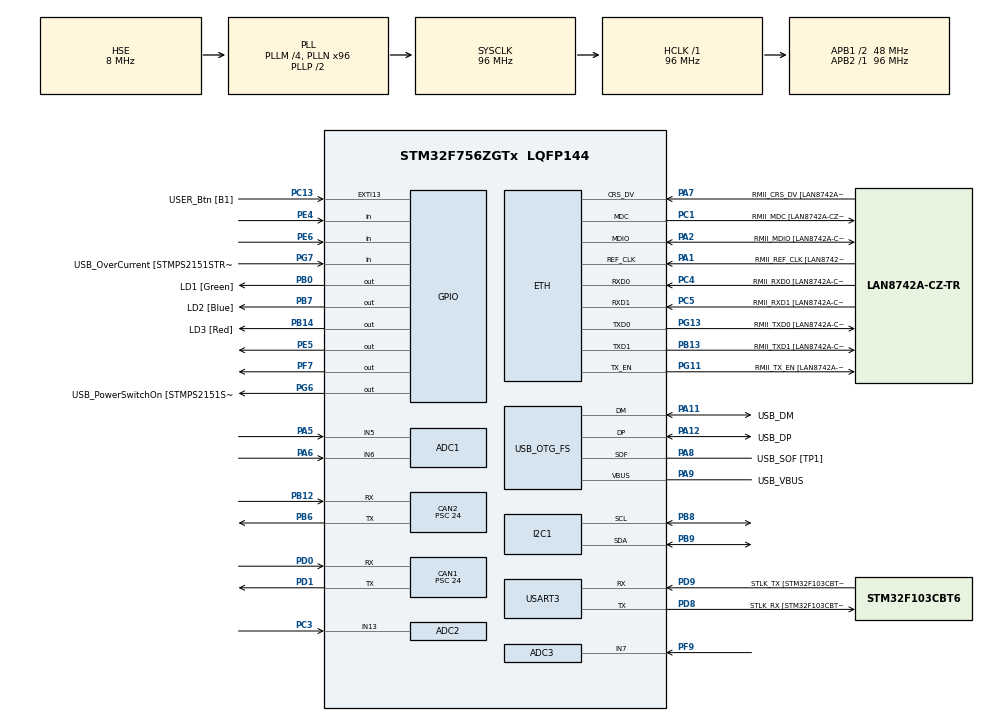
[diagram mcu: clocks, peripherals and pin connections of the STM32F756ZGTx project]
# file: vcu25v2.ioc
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ADC1.Channel-0\#ChannelRegularConversion=ADC_CHANNEL_5
ADC1.Channel-1\#ChannelRegularConversion=ADC_CHANNEL_6
ADC1.ContinuousConvMode=ENABLE
ADC1.DMAContinuousRequests=ENABLE
ADC1.EOCSelection=ADC_EOC_SEQ_CONV
ADC1.NbrOfConversion=2
ADC1.NbrOfConversionFlag=1
ADC1.Rank-0\#ChannelRegularConversion=1
ADC1.Rank-1\#ChannelRegularConversion=2
ADC1.SamplingTime-0\#ChannelRegularConversion=ADC_SAMPLETIME_480CYCLES
ADC1.SamplingTime-1\#ChannelRegularConversion=ADC_SAMPLETIME_480CYCLES
ADC1.ScanConvMode=ADC_SCAN_ENABLE
ADC1.master=1
ADC2.Channel-6\#ChannelRegularConversion=ADC_CHANNEL_13
ADC2.NbrOfConversionFlag=1
ADC2.Rank-6\#ChannelRegularConversion=1
ADC2.SamplingTime-6\#ChannelRegularConversion=ADC_SAMPLETIME_3CYCLES
ADC3.Channel-8\#ChannelRegularConversion=ADC_CHANNEL_7
ADC3.NbrOfConversionFlag=1
ADC3.Rank-8\#ChannelRegularConversion=1
ADC3.SamplingTime-8\#ChannelRegularConversion=ADC_SAMPLETIME_15CYCLES
CAN1.BS1=CAN_BS1_2TQ
CAN1.CalculateBaudRate=500000
CAN1.CalculateTimeBit=2000
CAN1.CalculateTimeQuantum=500.0
CAN1.Prescaler=24
CAN2.BS1=CAN_BS1_2TQ
CAN2.CalculateBaudRate=500000
CAN2.CalculateTimeBit=2000
CAN2.CalculateTimeQuantum=500.0
CAN2.Prescaler=24
Dma.ADC1.0.Direction=DMA_PERIPH_TO_MEMORY
Dma.ADC1.0.FIFOMode=DMA_FIFOMODE_DISABLE
Dma.ADC1.0.Instance=DMA2_Stream0
Dma.ADC1.0.MemDataAlignment=DMA_MDATAALIGN_HALFWORD
Dma.ADC1.0.MemInc=DMA_MINC_ENABLE
Dma.ADC1.0.Mode=DMA_CIRCULAR
Dma.ADC1.0.PeriphDataAlignment=DMA_PDATAALIGN_HALFWORD
Dma.ADC1.0.PeriphInc=DMA_PINC_DISABLE
Dma.ADC1.0.Priority=DMA_PRIORITY_LOW
Dma.Request0=ADC1
ETH.MediaInterface=HAL_ETH_RMII_MODE
ETH.PHY_Name=LAN8742A_PHY_ADDRESS
ETH.PHY_Value=0
ETH.PhyAddress=0
I2C1.Timing=0x20303E5D
Mcu.Family=STM32F7
Mcu.Name=STM32F756ZGTx
Mcu.Package=LQFP144
NVIC.DMA2_Stream0_IRQn=true\:0\:0\:false\:false\:true\:false\:true\:true
NVIC.PriorityGroup=NVIC_PRIORITYGROUP_4
NVIC.TIM6_DAC_IRQn=true\:15\:0\:false\:false\:true\:false\:true\:true
NVIC.TimeBase=TIM6_DAC_IRQn
NVIC.TimeBaseIP=TIM6
PA1.GPIO_Label=RMII_REF_CLK [LAN8742A-CZ-TR_REFCLK0]
PA1.Mode=RMII
PA1.Signal=ETH_REF_CLK
PA10.GPIO_Label=USB_ID
PA10.Signal=USB_OTG_FS_ID
PA11.GPIO_Label=USB_DM
PA11.Mode=Device_Only
PA11.Signal=USB_OTG_FS_DM
PA12.GPIO_Label=USB_DP
PA12.Mode=Device_Only
PA12.Signal=USB_OTG_FS_DP
PA13.GPIO_Label=TMS
PA13.Mode=Serial_Wire
PA13.Signal=SYS_JTMS-SWDIO
PA14.GPIO_Label=TCK
PA14.Mode=Serial_Wire
PA14.Signal=SYS_JTCK-SWCLK
PA2.GPIO_Label=RMII_MDIO [LAN8742A-CZ-TR_MDIO]
PA2.Mode=RMII
PA2.Signal=ETH_MDIO
PA5.Signal=ADCx_IN5
PA6.Signal=ADCx_IN6
PA7.GPIO_Label=RMII_CRS_DV [LAN8742A-CZ-TR_CRS_DV]
PA7.Mode=RMII
PA7.Signal=ETH_CRS_DV
PA8.GPIO_Label=USB_SOF [TP1]
PA8.Mode=Activate_SOF_FS
PA8.Signal=USB_OTG_FS_SOF
PA9.GPIO_Label=USB_VBUS
PA9.Mode=Activate_VBUS
PA9.Signal=USB_OTG_FS_VBUS
PB0.GPIO_Label=LD1 [Green]
PB0.Signal=GPIO_Output
PB12.Mode=CAN_Activate
PB12.Signal=CAN2_RX
PB13.GPIO_Label=RMII_TXD1 [LAN8742A-CZ-TR_TXD1]
PB13.Mode=RMII
PB13.Signal=ETH_TXD1
PB14.GPIO_Label=LD3 [Red]
PB14.Signal=GPIO_Output
PB3.GPIO_Label=SW0
PB3.Signal=SYS_JTDO-SWO
PB6.Mode=CAN_Activate
PB6.Signal=CAN2_TX
PB7.GPIO_Label=LD2 [Blue]
PB7.Signal=GPIO_Output
PB8.Mode=I2C
PB8.Signal=I2C1_SCL
PB9.Mode=I2C
PB9.Signal=I2C1_SDA
PC1.GPIO_Label=RMII_MDC [LAN8742A-CZ-TR_MDC]
PC1.Mode=RMII
PC1.Signal=ETH_MDC
PC13.GPIO_Label=USER_Btn [B1]
PC13.Signal=GPXTI13
PC14/OSC32_IN.Mode=LSE-External-Oscillator
PC14/OSC32_IN.Signal=RCC_OSC32_IN
PC15/OSC32_OUT.Mode=LSE-External-Oscillator
PC15/OSC32_OUT.Signal=RCC_OSC32_OUT
PC3.Signal=ADCx_IN13
PC4.GPIO_Label=RMII_RXD0 [LAN8742A-CZ-TR_RXD0]
PC4.Mode=RMII
PC4.Signal=ETH_RXD0
PC5.GPIO_Label=RMII_RXD1 [LAN8742A-CZ-TR_RXD1]
PC5.Mode=RMII
PC5.Signal=ETH_RXD1
PD0.Mode=CAN_Activate
PD0.Signal=CAN1_RX
PD1.Mode=CAN_Activate
PD1.Signal=CAN1_TX
PD8.GPIO_Label=STLK_RX [STM32F103CBT6_PA3]
PD8.Mode=Asynchronous
PD8.Signal=USART3_TX
PD9.GPIO_Label=STLK_TX [STM32F103CBT6_PA2]
PD9.Mode=Asynchronous
PD9.Signal=USART3_RX
PE4.Signal=GPIO_Input
PE5.Signal=GPIO_Output
PE6.Signal=GPIO_Input
PF7.Signal=GPIO_Output
PF9.Mode=IN7
PF9.Signal=ADC3_IN7
PG11.GPIO_Label=RMII_TX_EN [LAN8742A-CZ-TR_TXEN]
PG11.Mode=RMII
PG11.Signal=ETH_TX_EN
PG13.GPIO_Label=RMII_TXD0 [LAN8742A-CZ-TR_TXD0]
PG13.Mode=RMII
PG13.Signal=ETH_TXD0
PG6.GPIO_Label=USB_PowerSwitchOn [STMPS2151STR_EN]
PG6.Signal=GPIO_Output
PG7.GPIO_Label=USB_OverCurrent [STMPS2151STR_FAULT]
PG7.Signal=GPIO_Input
PH0/OSC_IN.GPIO_Label=MCO [STM32F103CBT6_PA8]
PH0/OSC_IN.Mode=HSE-External-Clock-Source
PH0/OSC_IN.Signal=RCC_OSC_IN
PH1/OSC_OUT.Mode=HSE-External-Clock-Source
PH1/OSC_OUT.Signal=RCC_OSC_OUT
ProjectManager.HeapSize=0x200
ProjectManager.StackSize=0x400
ProjectManager.TargetToolchain=STM32CubeIDE
RCC.48MHZClocksFreq_Value=24000000
RCC.AHBFreq_Value=96000000
RCC.APB1CLKDivider=RCC_HCLK_DIV2
RCC.APB1Freq_Value=48000000
RCC.APB1TimFreq_Value=96000000
RCC.APB2Freq_Value=96000000
RCC.APB2TimFreq_Value=96000000
RCC.CortexFreq_Value=96000000
RCC.HCLKFreq_Value=96000000
RCC.HSE_VALUE=8000000
RCC.HSI_VALUE=16000000
RCC.PLLM=4
RCC.PLLMUL=RCC_PLL_MUL9
RCC.PLLN=96
RCC.PLLQ=4
RCC.PRESCALERUSB=RCC_USBCLKSOURCE_PLL_DIV1_5
RCC.SYSCLKFreq_VALUE=96000000
RCC.SYSCLKSource=RCC_SYSCLKSOURCE_PLLCLK
RCC.SYSCLKSourceVirtual=RCC_SYSCLKSOURCE_PLLCLK
RCC.USBFreq_Value=48000000
RCC.VCOOutputFreq_Value=192000000
SH.ADCx_IN13.0=ADC2_IN13,IN13
SH.ADCx_IN5.0=ADC1_IN5,IN5
SH.ADCx_IN6.0=ADC1_IN6,IN6
USART3.VirtualMode-Asynchronous=VM_ASYNC
USB_OTG_FS.VirtualMode=Device_Only
VP_SYS_VS_tim6.Mode=TIM6
board=NUCLEO-F756ZG

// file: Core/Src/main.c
/* USER CODE BEGIN Header */
/**
  ******************************************************************************
  * @file           : main.c
  * @brief          : Main program body
  ******************************************************************************
  * @attention
  *
  * Copyright (c) 2025 STMicroelectronics.
  * All rights reserved.
  *
  * This software is licensed under terms that can be found in the LICENSE file
  * in the root directory of this software component.
  * If no LICENSE file comes with this software, it is provided AS-IS.
  *
  ******************************************************************************
  */
/* USER CODE END Header */
#include "main.h"
#include "string.h"

/* USER CODE BEGIN Includes */
#include "inverter.h"
#include "pedals.h"
/* USER CODE END Includes */

#if defined ( __ICCARM__ ) /*!< IAR Compiler */
#pragma location=0x2004c000
ETH_DMADescTypeDef  DMARxDscrTab[ETH_RX_DESC_CNT]; /* Ethernet Rx DMA Descriptors */
#pragma location=0x2004c0a0
ETH_DMADescTypeDef  DMATxDscrTab[ETH_TX_DESC_CNT]; /* Ethernet Tx DMA Descriptors */

#elif defined ( __CC_ARM )  /* MDK ARM Compiler */

__attribute__((at(0x2004c000))) ETH_DMADescTypeDef  DMARxDscrTab[ETH_RX_DESC_CNT]; /* Ethernet Rx DMA Descriptors */
__attribute__((at(0x2004c0a0))) ETH_DMADescTypeDef  DMATxDscrTab[ETH_TX_DESC_CNT]; /* Ethernet Tx DMA Descriptors */

#elif defined ( __GNUC__ ) /* GNU Compiler */

ETH_DMADescTypeDef DMARxDscrTab[ETH_RX_DESC_CNT] __attribute__((section(".RxDecripSection"))); /* Ethernet Rx DMA Descriptors */
ETH_DMADescTypeDef DMATxDscrTab[ETH_TX_DESC_CNT] __attribute__((section(".TxDecripSection")));   /* Ethernet Tx DMA Descriptors */
#endif

ETH_TxPacketConfig TxConfig;

ADC_HandleTypeDef hadc1;
ADC_HandleTypeDef hadc2;
ADC_HandleTypeDef hadc3;
DMA_HandleTypeDef hdma_adc1;

CAN_HandleTypeDef hcan1;
CAN_HandleTypeDef hcan2;

ETH_HandleTypeDef heth;

I2C_HandleTypeDef hi2c1;

UART_HandleTypeDef huart3;

PCD_HandleTypeDef hpcd_USB_OTG_FS;

/* USER CODE BEGIN PV */
// includes variables used for raw adc collection as well as variables for capturing calibration adc values

volatile float global_accel_position = 0.0f;
uint32_t lastExecutionTime = 0;

uint32_t appsRaw1 = 0;
uint32_t appsRaw1Max = 0;
uint32_t appsRaw1Min = 4096;

uint32_t appsRaw2 = 0;
uint32_t appsRaw2Max = 0;
uint32_t appsRaw2Min = 4096;

// temporary values for testing
uint16_t rawValues[2];
char ready;

static float appsPercentage1 = 0.0f;
static float appsPercentage2 = 0.0f;
static float appsValue = 0.0f;

/* USER CODE END PV */

void SystemClock_Config(void);
static void MX_GPIO_Init(void);
static void MX_DMA_Init(void);
static void MX_ETH_Init(void);
static void MX_I2C1_Init(void);
static void MX_USART3_UART_Init(void);
static void MX_USB_OTG_FS_PCD_Init(void);
static void MX_CAN1_Init(void);
static void MX_ADC1_Init(void);
static void MX_CAN2_Init(void);
static void MX_ADC2_Init(void);
static void MX_ADC3_Init(void);

/* USER CODE BEGIN 0 */

void HAL_ADC_ConvCpltCallback(ADC_HandleTypeDef* hadc) {
//	appsRaw1 = rawValues[0];
//	appsRaw2 = rawValues[1];
//
//	appsPercentage1 = (float) (appsRaw1) / (float) (4095);
//	appsPercentage2 = (float) (appsRaw2) / (float) (4095);
//
//	appsValue = (appsPercentage1 + appsPercentage2) / 2;
//	global_accel_position = appsValue;
//	ready = 1;

//		HAL_GPIO_WritePin(GPIOB, LD1_Pin, SET);
	Inverter_Process();
}

/* USER CODE END 0 */

int main(void)
{

  /* MCU Configuration--------------------------------------------------------*/

  /* Reset of all peripherals, Initializes the Flash interface and the Systick. */
  HAL_Init();

  /* Configure the system clock */
  SystemClock_Config();

  /* Initialize all configured peripherals */
  MX_GPIO_Init();
  MX_DMA_Init();
  MX_ETH_Init();
  MX_I2C1_Init();
  MX_USART3_UART_Init();
  MX_USB_OTG_FS_PCD_Init();
  MX_CAN1_Init();
  MX_ADC1_Init();
  MX_CAN2_Init();
  MX_ADC2_Init();
  MX_ADC3_Init();
  /* USER CODE BEGIN 2 */
  HAL_CAN_Start(&hcan1);
  Inverter_Init();
  HAL_Delay(1000);
  HAL_ADC_Start_DMA(&hadc1, (uint32_t *) rawValues, 2);
  /* USER CODE END 2 */

  /* Infinite loop */
	while (1) {

	}
}

void SystemClock_Config(void)
{
  RCC_OscInitTypeDef RCC_OscInitStruct = {0};
  RCC_ClkInitTypeDef RCC_ClkInitStruct = {0};

  /** Configure LSE Drive Capability
  */
  HAL_PWR_EnableBkUpAccess();

  /** Configure the main internal regulator output voltage
  */
  __HAL_RCC_PWR_CLK_ENABLE();
  __HAL_PWR_VOLTAGESCALING_CONFIG(PWR_REGULATOR_VOLTAGE_SCALE3);

  /** Initializes the RCC Oscillators according to the specified parameters
  * in the RCC_OscInitTypeDef structure.
  */
  RCC_OscInitStruct.OscillatorType = RCC_OSCILLATORTYPE_HSE;
  RCC_OscInitStruct.HSEState = RCC_HSE_BYPASS;
  RCC_OscInitStruct.PLL.PLLState = RCC_PLL_ON;
  RCC_OscInitStruct.PLL.PLLSource = RCC_PLLSOURCE_HSE;
  RCC_OscInitStruct.PLL.PLLM = 4;
  RCC_OscInitStruct.PLL.PLLN = 96;
  RCC_OscInitStruct.PLL.PLLP = RCC_PLLP_DIV2;
  RCC_OscInitStruct.PLL.PLLQ = 4;
  if (HAL_RCC_OscConfig(&RCC_OscInitStruct) != HAL_OK)
  {
    Error_Handler();
  }

  /** Activate the Over-Drive mode
  */
  if (HAL_PWREx_EnableOverDrive() != HAL_OK)
  {
    Error_Handler();
  }

  /** Initializes the CPU, AHB and APB buses clocks
  */
  RCC_ClkInitStruct.ClockType = RCC_CLOCKTYPE_HCLK|RCC_CLOCKTYPE_SYSCLK
                              |RCC_CLOCKTYPE_PCLK1|RCC_CLOCKTYPE_PCLK2;
  RCC_ClkInitStruct.SYSCLKSource = RCC_SYSCLKSOURCE_PLLCLK;
  RCC_ClkInitStruct.AHBCLKDivider = RCC_SYSCLK_DIV1;
  RCC_ClkInitStruct.APB1CLKDivider = RCC_HCLK_DIV2;
  RCC_ClkInitStruct.APB2CLKDivider = RCC_HCLK_DIV1;

  if (HAL_RCC_ClockConfig(&RCC_ClkInitStruct, FLASH_LATENCY_3) != HAL_OK)
  {
    Error_Handler();
  }
}

static void MX_ADC1_Init(void)
{

  ADC_ChannelConfTypeDef sConfig = {0};

  /** Configure the global features of the ADC (Clock, Resolution, Data Alignment and number of conversion)
  */
  hadc1.Instance = ADC1;
  hadc1.Init.ClockPrescaler = ADC_CLOCK_SYNC_PCLK_DIV4;
  hadc1.Init.Resolution = ADC_RESOLUTION_12B;
  hadc1.Init.ScanConvMode = ADC_SCAN_ENABLE;
  hadc1.Init.ContinuousConvMode = ENABLE;
  hadc1.Init.DiscontinuousConvMode = DISABLE;
  hadc1.Init.ExternalTrigConvEdge = ADC_EXTERNALTRIGCONVEDGE_NONE;
  hadc1.Init.ExternalTrigConv = ADC_SOFTWARE_START;
  hadc1.Init.DataAlign = ADC_DATAALIGN_RIGHT;
  hadc1.Init.NbrOfConversion = 2;
  hadc1.Init.DMAContinuousRequests = ENABLE;
  hadc1.Init.EOCSelection = ADC_EOC_SEQ_CONV;
  if (HAL_ADC_Init(&hadc1) != HAL_OK)
  {
    Error_Handler();
  }

  /** Configure for the selected ADC regular channel its corresponding rank in the sequencer and its sample time.
  */
  sConfig.Channel = ADC_CHANNEL_5;
  sConfig.Rank = ADC_REGULAR_RANK_1;
  sConfig.SamplingTime = ADC_SAMPLETIME_480CYCLES;
  if (HAL_ADC_ConfigChannel(&hadc1, &sConfig) != HAL_OK)
  {
    Error_Handler();
  }

  /** Configure for the selected ADC regular channel its corresponding rank in the sequencer and its sample time.
  */
  sConfig.Channel = ADC_CHANNEL_6;
  sConfig.Rank = ADC_REGULAR_RANK_2;
  if (HAL_ADC_ConfigChannel(&hadc1, &sConfig) != HAL_OK)
  {
    Error_Handler();
  }

}

static void MX_ADC2_Init(void)
{

  ADC_ChannelConfTypeDef sConfig = {0};

  /** Configure the global features of the ADC (Clock, Resolution, Data Alignment and number of conversion)
  */
  hadc2.Instance = ADC2;
  hadc2.Init.ClockPrescaler = ADC_CLOCK_SYNC_PCLK_DIV4;
  hadc2.Init.Resolution = ADC_RESOLUTION_12B;
  hadc2.Init.ScanConvMode = ADC_SCAN_DISABLE;
  hadc2.Init.ContinuousConvMode = DISABLE;
  hadc2.Init.DiscontinuousConvMode = DISABLE;
  hadc2.Init.ExternalTrigConvEdge = ADC_EXTERNALTRIGCONVEDGE_NONE;
  hadc2.Init.ExternalTrigConv = ADC_SOFTWARE_START;
  hadc2.Init.DataAlign = ADC_DATAALIGN_RIGHT;
  hadc2.Init.NbrOfConversion = 1;
  hadc2.Init.DMAContinuousRequests = DISABLE;
  hadc2.Init.EOCSelection = ADC_EOC_SINGLE_CONV;
  if (HAL_ADC_Init(&hadc2) != HAL_OK)
  {
    Error_Handler();
  }

  /** Configure for the selected ADC regular channel its corresponding rank in the sequencer and its sample time.
  */
  sConfig.Channel = ADC_CHANNEL_13;
  sConfig.Rank = ADC_REGULAR_RANK_1;
  sConfig.SamplingTime = ADC_SAMPLETIME_3CYCLES;
  if (HAL_ADC_ConfigChannel(&hadc2, &sConfig) != HAL_OK)
  {
    Error_Handler();
  }

}

static void MX_ADC3_Init(void)
{

  ADC_ChannelConfTypeDef sConfig = {0};

  /** Configure the global features of the ADC (Clock, Resolution, Data Alignment and number of conversion)
  */
  hadc3.Instance = ADC3;
  hadc3.Init.ClockPrescaler = ADC_CLOCK_SYNC_PCLK_DIV4;
  hadc3.Init.Resolution = ADC_RESOLUTION_12B;
  hadc3.Init.ScanConvMode = ADC_SCAN_DISABLE;
  hadc3.Init.ContinuousConvMode = DISABLE;
  hadc3.Init.DiscontinuousConvMode = DISABLE;
  hadc3.Init.ExternalTrigConvEdge = ADC_EXTERNALTRIGCONVEDGE_NONE;
  hadc3.Init.ExternalTrigConv = ADC_SOFTWARE_START;
  hadc3.Init.DataAlign = ADC_DATAALIGN_RIGHT;
  hadc3.Init.NbrOfConversion = 1;
  hadc3.Init.DMAContinuousRequests = DISABLE;
  hadc3.Init.EOCSelection = ADC_EOC_SINGLE_CONV;
  if (HAL_ADC_Init(&hadc3) != HAL_OK)
  {
    Error_Handler();
  }

  /** Configure for the selected ADC regular channel its corresponding rank in the sequencer and its sample time.
  */
  sConfig.Channel = ADC_CHANNEL_7;
  sConfig.Rank = ADC_REGULAR_RANK_1;
  sConfig.SamplingTime = ADC_SAMPLETIME_15CYCLES;
  if (HAL_ADC_ConfigChannel(&hadc3, &sConfig) != HAL_OK)
  {
    Error_Handler();
  }

}

static void MX_CAN1_Init(void)
{

  hcan1.Instance = CAN1;
  hcan1.Init.Prescaler = 24;
  hcan1.Init.Mode = CAN_MODE_NORMAL;
  hcan1.Init.SyncJumpWidth = CAN_SJW_1TQ;
  hcan1.Init.TimeSeg1 = CAN_BS1_2TQ;
  hcan1.Init.TimeSeg2 = CAN_BS2_1TQ;
  hcan1.Init.TimeTriggeredMode = DISABLE;
  hcan1.Init.AutoBusOff = DISABLE;
  hcan1.Init.AutoWakeUp = DISABLE;
  hcan1.Init.AutoRetransmission = DISABLE;
  hcan1.Init.ReceiveFifoLocked = DISABLE;
  hcan1.Init.TransmitFifoPriority = DISABLE;
  if (HAL_CAN_Init(&hcan1) != HAL_OK)
  {
    Error_Handler();
  }

}

static void MX_CAN2_Init(void)
{

  hcan2.Instance = CAN2;
  hcan2.Init.Prescaler = 24;
  hcan2.Init.Mode = CAN_MODE_NORMAL;
  hcan2.Init.SyncJumpWidth = CAN_SJW_1TQ;
  hcan2.Init.TimeSeg1 = CAN_BS1_2TQ;
  hcan2.Init.TimeSeg2 = CAN_BS2_1TQ;
  hcan2.Init.TimeTriggeredMode = DISABLE;
  hcan2.Init.AutoBusOff = DISABLE;
  hcan2.Init.AutoWakeUp = DISABLE;
  hcan2.Init.AutoRetransmission = DISABLE;
  hcan2.Init.ReceiveFifoLocked = DISABLE;
  hcan2.Init.TransmitFifoPriority = DISABLE;
  if (HAL_CAN_Init(&hcan2) != HAL_OK)
  {
    Error_Handler();
  }

}

static void MX_ETH_Init(void)
{

   static uint8_t MACAddr[6];

  heth.Instance = ETH;
  MACAddr[0] = 0x00;
  MACAddr[1] = 0x80;
  MACAddr[2] = 0xE1;
  MACAddr[3] = 0x00;
  MACAddr[4] = 0x00;
  MACAddr[5] = 0x00;
  heth.Init.MACAddr = &MACAddr[0];
  heth.Init.MediaInterface = HAL_ETH_RMII_MODE;
  heth.Init.TxDesc = DMATxDscrTab;
  heth.Init.RxDesc = DMARxDscrTab;
  heth.Init.RxBuffLen = 1524;

  if (HAL_ETH_Init(&heth) != HAL_OK)
  {
    Error_Handler();
  }

  memset(&TxConfig, 0 , sizeof(ETH_TxPacketConfig));
  TxConfig.Attributes = ETH_TX_PACKETS_FEATURES_CSUM | ETH_TX_PACKETS_FEATURES_CRCPAD;
  TxConfig.ChecksumCtrl = ETH_CHECKSUM_IPHDR_PAYLOAD_INSERT_PHDR_CALC;
  TxConfig.CRCPadCtrl = ETH_CRC_PAD_INSERT;

}

static void MX_I2C1_Init(void)
{

  hi2c1.Instance = I2C1;
  hi2c1.Init.Timing = 0x20303E5D;
  hi2c1.Init.OwnAddress1 = 0;
  hi2c1.Init.AddressingMode = I2C_ADDRESSINGMODE_7BIT;
  hi2c1.Init.DualAddressMode = I2C_DUALADDRESS_DISABLE;
  hi2c1.Init.OwnAddress2 = 0;
  hi2c1.Init.OwnAddress2Masks = I2C_OA2_NOMASK;
  hi2c1.Init.GeneralCallMode = I2C_GENERALCALL_DISABLE;
  hi2c1.Init.NoStretchMode = I2C_NOSTRETCH_DISABLE;
  if (HAL_I2C_Init(&hi2c1) != HAL_OK)
  {
    Error_Handler();
  }

  /** Configure Analogue filter
  */
  if (HAL_I2CEx_ConfigAnalogFilter(&hi2c1, I2C_ANALOGFILTER_ENABLE) != HAL_OK)
  {
    Error_Handler();
  }

  /** Configure Digital filter
  */
  if (HAL_I2CEx_ConfigDigitalFilter(&hi2c1, 0) != HAL_OK)
  {
    Error_Handler();
  }

}

static void MX_USART3_UART_Init(void)
{

  huart3.Instance = USART3;
  huart3.Init.BaudRate = 115200;
  huart3.Init.WordLength = UART_WORDLENGTH_8B;
  huart3.Init.StopBits = UART_STOPBITS_1;
  huart3.Init.Parity = UART_PARITY_NONE;
  huart3.Init.Mode = UART_MODE_TX_RX;
  huart3.Init.HwFlowCtl = UART_HWCONTROL_NONE;
  huart3.Init.OverSampling = UART_OVERSAMPLING_16;
  huart3.Init.OneBitSampling = UART_ONE_BIT_SAMPLE_DISABLE;
  huart3.AdvancedInit.AdvFeatureInit = UART_ADVFEATURE_NO_INIT;
  if (HAL_UART_Init(&huart3) != HAL_OK)
  {
    Error_Handler();
  }

}

static void MX_USB_OTG_FS_PCD_Init(void)
{

  hpcd_USB_OTG_FS.Instance = USB_OTG_FS;
  hpcd_USB_OTG_FS.Init.dev_endpoints = 6;
  hpcd_USB_OTG_FS.Init.speed = PCD_SPEED_FULL;
  hpcd_USB_OTG_FS.Init.dma_enable = DISABLE;
  hpcd_USB_OTG_FS.Init.phy_itface = PCD_PHY_EMBEDDED;
  hpcd_USB_OTG_FS.Init.Sof_enable = ENABLE;
  hpcd_USB_OTG_FS.Init.low_power_enable = DISABLE;
  hpcd_USB_OTG_FS.Init.lpm_enable = DISABLE;
  hpcd_USB_OTG_FS.Init.vbus_sensing_enable = ENABLE;
  hpcd_USB_OTG_FS.Init.use_dedicated_ep1 = DISABLE;
  if (HAL_PCD_Init(&hpcd_USB_OTG_FS) != HAL_OK)
  {
    Error_Handler();
  }

}

static void MX_DMA_Init(void)
{

  /* DMA controller clock enable */
  __HAL_RCC_DMA2_CLK_ENABLE();

  /* DMA interrupt init */
  /* DMA2_Stream0_IRQn interrupt configuration */
  HAL_NVIC_SetPriority(DMA2_Stream0_IRQn, 0, 0);
  HAL_NVIC_EnableIRQ(DMA2_Stream0_IRQn);

}

static void MX_GPIO_Init(void)
{
  GPIO_InitTypeDef GPIO_InitStruct = {0};

  /* GPIO Ports Clock Enable */
  __HAL_RCC_GPIOE_CLK_ENABLE();
  __HAL_RCC_GPIOC_CLK_ENABLE();
  __HAL_RCC_GPIOF_CLK_ENABLE();
  __HAL_RCC_GPIOH_CLK_ENABLE();
  __HAL_RCC_GPIOA_CLK_ENABLE();
  __HAL_RCC_GPIOB_CLK_ENABLE();
  __HAL_RCC_GPIOD_CLK_ENABLE();
  __HAL_RCC_GPIOG_CLK_ENABLE();

  /*Configure GPIO pin Output Level */
  HAL_GPIO_WritePin(GPIOE, GPIO_PIN_5, GPIO_PIN_RESET);

  /*Configure GPIO pin Output Level */
  HAL_GPIO_WritePin(GPIOF, GPIO_PIN_7, GPIO_PIN_RESET);

  /*Configure GPIO pin Output Level */
  HAL_GPIO_WritePin(GPIOB, LD1_Pin|LD3_Pin|LD2_Pin, GPIO_PIN_RESET);

  /*Configure GPIO pin Output Level */
  HAL_GPIO_WritePin(USB_PowerSwitchOn_GPIO_Port, USB_PowerSwitchOn_Pin, GPIO_PIN_RESET);

  /*Configure GPIO pins : PE4 PE6 */
  GPIO_InitStruct.Pin = GPIO_PIN_4|GPIO_PIN_6;
  GPIO_InitStruct.Mode = GPIO_MODE_INPUT;
  GPIO_InitStruct.Pull = GPIO_NOPULL;
  HAL_GPIO_Init(GPIOE, &GPIO_InitStruct);

  /*Configure GPIO pin : PE5 */
  GPIO_InitStruct.Pin = GPIO_PIN_5;
  GPIO_InitStruct.Mode = GPIO_MODE_OUTPUT_PP;
  GPIO_InitStruct.Pull = GPIO_NOPULL;
  GPIO_InitStruct.Speed = GPIO_SPEED_FREQ_LOW;
  HAL_GPIO_Init(GPIOE, &GPIO_InitStruct);

  /*Configure GPIO pin : USER_Btn_Pin */
  GPIO_InitStruct.Pin = USER_Btn_Pin;
  GPIO_InitStruct.Mode = GPIO_MODE_IT_RISING;
  GPIO_InitStruct.Pull = GPIO_NOPULL;
  HAL_GPIO_Init(USER_Btn_GPIO_Port, &GPIO_InitStruct);

  /*Configure GPIO pin : PF7 */
  GPIO_InitStruct.Pin = GPIO_PIN_7;
  GPIO_InitStruct.Mode = GPIO_MODE_OUTPUT_PP;
  GPIO_InitStruct.Pull = GPIO_NOPULL;
  GPIO_InitStruct.Speed = GPIO_SPEED_FREQ_LOW;
  HAL_GPIO_Init(GPIOF, &GPIO_InitStruct);

  /*Configure GPIO pins : LD1_Pin LD3_Pin LD2_Pin */
  GPIO_InitStruct.Pin = LD1_Pin|LD3_Pin|LD2_Pin;
  GPIO_InitStruct.Mode = GPIO_MODE_OUTPUT_PP;
  GPIO_InitStruct.Pull = GPIO_NOPULL;
  GPIO_InitStruct.Speed = GPIO_SPEED_FREQ_LOW;
  HAL_GPIO_Init(GPIOB, &GPIO_InitStruct);

  /*Configure GPIO pin : USB_PowerSwitchOn_Pin */
  GPIO_InitStruct.Pin = USB_PowerSwitchOn_Pin;
  GPIO_InitStruct.Mode = GPIO_MODE_OUTPUT_PP;
  GPIO_InitStruct.Pull = GPIO_NOPULL;
  GPIO_InitStruct.Speed = GPIO_SPEED_FREQ_LOW;
  HAL_GPIO_Init(USB_PowerSwitchOn_GPIO_Port, &GPIO_InitStruct);

  /*Configure GPIO pin : USB_OverCurrent_Pin */
  GPIO_InitStruct.Pin = USB_OverCurrent_Pin;
  GPIO_InitStruct.Mode = GPIO_MODE_INPUT;
  GPIO_InitStruct.Pull = GPIO_NOPULL;
  HAL_GPIO_Init(USB_OverCurrent_GPIO_Port, &GPIO_InitStruct);

}

void HAL_TIM_PeriodElapsedCallback(TIM_HandleTypeDef *htim)
{
  if (htim->Instance == TIM6)
  {
    HAL_IncTick();
  }
}

void Error_Handler(void)
{
  __disable_irq();
  while (1)
  {
  }
}
